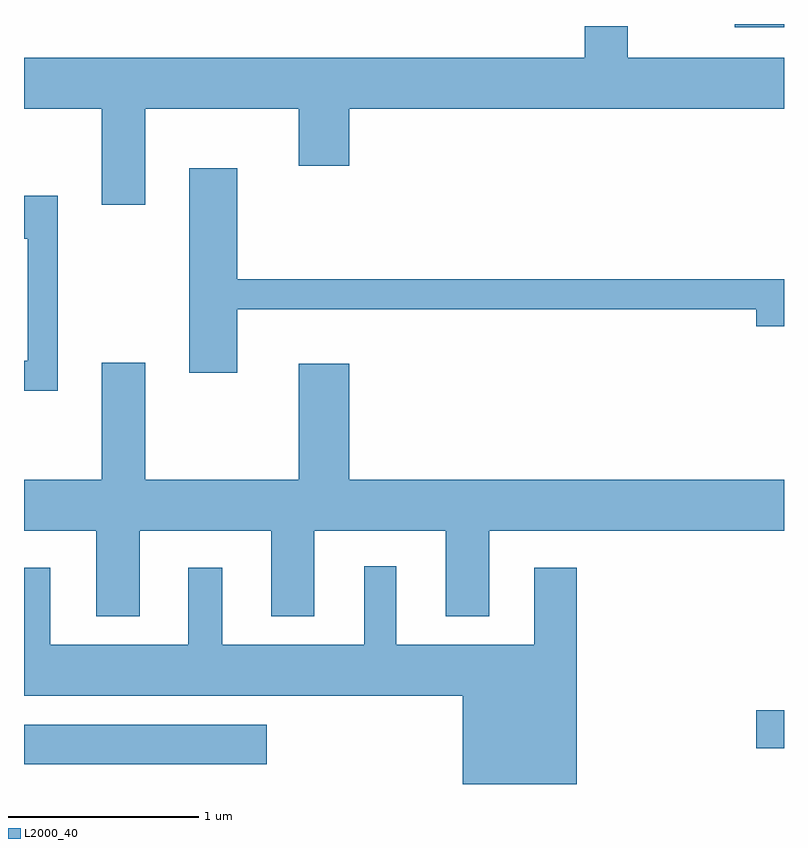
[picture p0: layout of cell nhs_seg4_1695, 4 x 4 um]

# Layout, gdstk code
import gdstk
lib = gdstk.Library(unit=1e-6, precision=1e-09)
def R(c, l, rs):  # rectangles x0, y0, x1, y1
    for r in rs: c.add(gdstk.rectangle(r[:2], r[2:], *l))
def P(c, l, *ps):  # polygons
    for p in ps: c.add(gdstk.Polygon(p, *l))
L2000_40 = (2000, 40)

nhs_seg4_1695 = lib.new_cell('nhs_seg4_1695')
R(nhs_seg4_1695, L2000_40, [(233.611,1380.086,234.889,1380.294), (237.466,1380.171,237.611,1380.369), (237.353,1383.966,237.611,1383.982)])
P(nhs_seg4_1695, L2000_40, [(234.249,1383.536),(235.056,1383.536),(235.056,1383.236),(235.324,1383.236),(235.324,1383.536),(237.611,1383.536),(237.611,1383.804),(236.789,1383.804),(236.789,1383.969),(236.561,1383.969),(236.561,1383.804),(233.611,1383.804),(233.611,1383.536),(234.021,1383.536),(234.021,1383.031),(234.249,1383.031)],
  [(234.734,1382.481),(237.466,1382.481),(237.466,1382.391),(237.611,1382.391),(237.611,1382.639),(234.734,1382.639),(234.734,1383.224),(234.481,1383.224),(234.481,1382.146),(234.734,1382.146)],
  [(233.789,1383.079),(233.611,1383.079),(233.611,1382.851),(233.631,1382.851),(233.631,1382.209),(233.611,1382.209),(233.611,1382.051),(233.789,1382.051)],
  [(234.219,1381.316),(234.911,1381.316),(234.911,1380.866),(235.139,1380.866),(235.139,1381.316),(235.831,1381.316),(235.831,1380.866),(236.059,1380.866),(236.059,1381.316),(237.611,1381.316),(237.611,1381.584),(235.324,1381.584),(235.324,1382.194),(235.056,1382.194),(235.056,1381.584),(234.249,1381.584),(234.249,1382.199),(234.021,1382.199),(234.021,1381.584),(233.611,1381.584),(233.611,1381.316),(233.991,1381.316),(233.991,1380.866),(234.219,1380.866)],
  [(236.519,1381.119),(236.296,1381.119),(236.296,1380.714),(235.569,1380.714),(235.569,1381.128),(235.401,1381.128),(235.401,1380.714),(234.654,1380.714),(234.654,1381.119),(234.476,1381.119),(234.476,1380.714),(233.749,1380.714),(233.749,1381.119),(233.611,1381.119),(233.611,1380.446),(235.921,1380.446),(235.921,1379.982),(236.519,1379.982)])

lib.write_gds('nhs_seg4_1695.gds')
